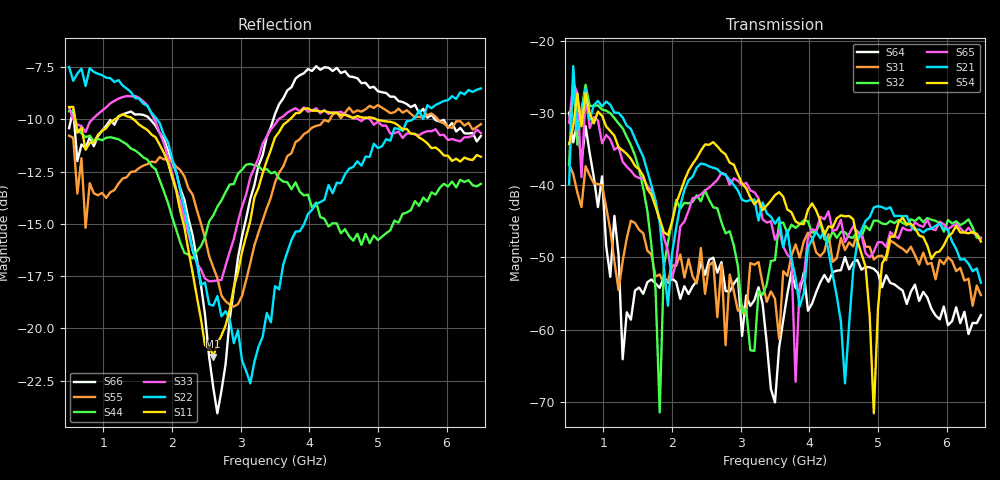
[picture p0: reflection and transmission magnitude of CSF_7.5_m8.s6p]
!Keysight Technologies,M9804A,MY58100912,A.14.10.03
!Date: Thursday, April 27, 2023 10:28:33
!Correction: S11(C  6-Port  )
!S12(C  6-Port  )
!S13(C  6-Port  )
!S14(C  6-Port  )
!S15(C  6-Port  )
!S16(C  6-Port  )
!S21(C  6-Port  )
!S22(C  6-Port  )
!S23(C  6-Port  )
!S24(C  6-Port  )
!S25(C  6-Port  )
!S26(C  6-Port  )
!S31(C  6-Port  )
!S32(C  6-Port  )
!S33(C  6-Port  )
!S34(C  6-Port  )
!S35(C  6-Port  )
!S36(C  6-Port  )
!S41(C  6-Port  )
!S42(C  6-Port  )
!S43(C  6-Port  )
!S44(C  6-Port  )
!S45(C  6-Port  )
!S46(C  6-Port  )
!S51(C  6-Port  )
!S52(C  6-Port  )
!S53(C  6-Port  )
!S54(C  6-Port  )
!S55(C  6-Port  )
!S56(C  6-Port  )
!S61(C  6-Port  )
!S62(C  6-Port  )
!S63(C  6-Port  )
!S64(C  6-Port  )
!S65(C  6-Port  )
!S66(C  6-Port  )
!S6P File: Measurement: :
# Hz S  RI  R 50
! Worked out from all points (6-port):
!   101 points, 500 MHz to 6.5 GHz, reference 50 ohm
!   strongest paths, dB at 500 MHz, 2 GHz, 3.5 GHz, 5 GHz, 6.5 GHz:
!     S54: -34.3, -45.1, -41.4, -57.2, -47.8
!     S21: -39.9, -49.5, -45.3, -42.9, -53.5
!     S65: -31.3, -52.9, -47.6, -47.9, -47.4
!     S32: -37.2, -45.1, -50.4, -44.9, -47.3
!     S31: -37.1, -51.1, -55.7, -49.8, -55.2
!     S64: -29.9, -52.9, -70.1, -52.2, -58.0
!   lowest |S11| = -21.4 dB at 2.6 GHz (marker M1), VSWR 1.19, Z = 42.4 + j2.25 ohm
!   |S11| at or under -10 dB: 589 MHz to 1.166 GHz (576.7 MHz wide, 65.7 % of centre); 1.439 GHz to 3.716 GHz (2.278 GHz wide, 88.4 % of centre); 4.98 GHz to end of sweep
